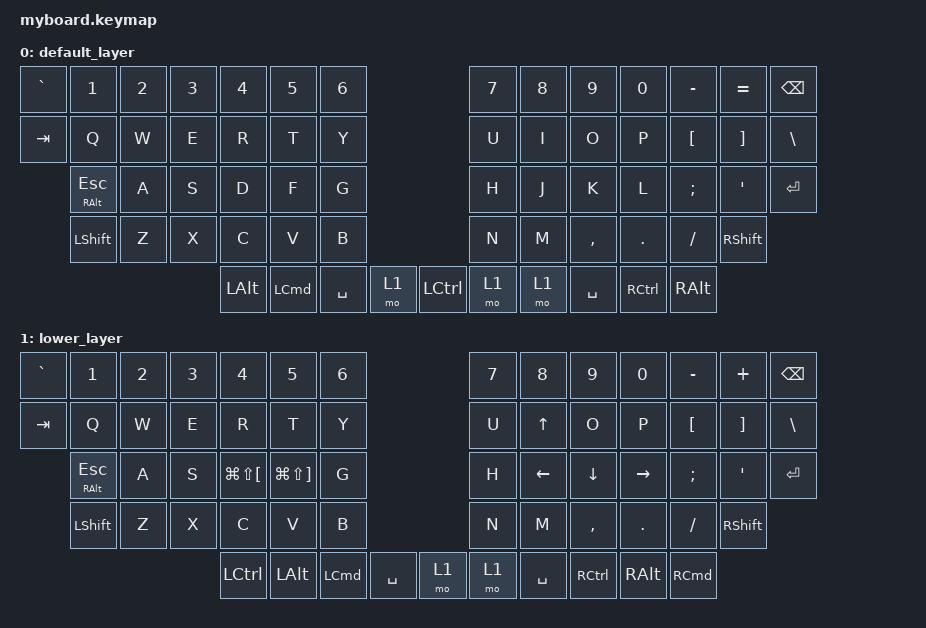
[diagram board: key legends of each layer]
/*
 * Copyright (c) 2020 The ZMK Contributors
 *
 * SPDX-License-Identifier: MIT
 */

#include <behaviors.dtsi>
#include <dt-bindings/zmk/keys.h>
#include <dt-bindings/zmk/bt.h>

/ {
        keymap {
                compatible = "zmk,keymap";

                default_layer {
// -----------------------------------------------------------------------------------------
// |  ` |  1  |  2  |  3  |  4  |  5  |  6  |                            |  7  |  8  |  9  |  0  |  -  |  +  |BKSP |
// |    | TAB |  Q  |  W  |  E  |  R  |  T  |                            |  Y  |  U  |  I  |  O  |  P  |  [  |  ]  | |\  |
// |    | ALT |  A  |  S  |  D  |  F  |  G  |                            |  H  |  J  |  K  |  L  |  ;  |  '  | RET |
// |    |SHFT |  Z  |  X  |  C  |  V  |  B  |                            |  N  |  M  |  ,  |  .  |  /  |SHIFT|
//                        |CTRL | ALT | CMD | SPC | MOD |    | MOD | SPC |CTRL | ALT | CMD |

                        bindings = <
   &kp GRAVE &kp N1       &kp N2 &kp N3 &kp N4    &kp N5   &kp N6                                          &kp N7    &kp N8    &kp N9    &kp N0  &kp MINUS &kp EQUAL &kp BSPC
             &kp TAB      &kp Q  &kp W  &kp E     &kp R    &kp T                                           &kp Y     &kp U     &kp I     &kp O   &kp P     &kp LBKT  &kp RBKT &kp BSLH
             &mt RALT ESC &kp A  &kp S  &kp D     &kp F    &kp G                                           &kp H     &kp J     &kp K     &kp L   &kp SEMI  &kp SQT   &kp RET
             &kp LSHFT    &kp Z  &kp X  &kp C     &kp V    &kp B                                           &kp N     &kp M     &kp COMMA &kp DOT &kp FSLH  &kp RSHFT
                                        &kp LALT  &kp LCMD &kp SPACE &mo 1 &kp LCTRL       &mo 1 &mo 1 &kp SPACE &kp RCTRL &kp RALT
                        >;
                };
                lower_layer {
// -----------------------------------------------------------------------------------------
// |  TAB |  1  |  2  |  3  |  4  |  5  |   |  6  |  7  |  8  |  9  |  0  | BKSP |
// | BTCLR| BT1 | BT2 | BT3 | BT4 | BT5 |   | LFT | DWN |  UP | RGT |     |      |
// | SHFT |     |     |     |     |     |   |     |     |     |     |     |      |
//                    | GUI |     | SPC |   | ENT |     | ALT |
                        bindings = <
   &kp GRAVE &kp N1       &kp N2 &kp N3 &kp N4           &kp N5           &kp N6                                      &kp N7    &kp N8   &kp N9    &kp N0  &kp MINUS &kp PLUS  &kp BSPC
             &kp TAB      &kp Q  &kp W  &kp E            &kp R            &kp T                                       &kp Y     &kp U    &kp UP    &kp O   &kp P     &kp LBKT  &kp RBKT &kp BSLH
             &mt RALT ESC &kp A  &kp S  &kp LG(LS(LBKT)) &kp LG(LS(RBKT)) &kp G                                       &kp H     &kp LEFT &kp DOWN  &kp RIGHT   &kp SEMI  &kp SQT   &kp RET
             &kp LSHFT    &kp Z  &kp X  &kp C            &kp V            &kp B                                       &kp N     &kp M    &kp COMMA &kp DOT &kp FSLH  &kp RSHFT
                                        &kp LCTRL        &kp LALT         &kp LCMD &kp SPACE &mo 1    &mo 1 &kp SPACE &kp RCTRL &kp RALT &kp RCMD
                        >;
                };

//                raise_layer {
// -----------------------------------------------------------------------------------------
// |  TAB |  !  |  @  |  #  |  $  |  %  |   |  ^  |  &  |  *  |  (  |  )  | BKSP |
// | CTRL |     |     |     |     |     |   |  -  |  =  |  [  |  ]  |  \  |  `   |
// | SHFT |     |     |     |     |     |   |  _  |  +  |  {  |  }  | "|" |  ~   |
//                    | GUI |     | SPC |   | ENT |     | ALT |
//                        bindings = <
//   &kp  TAB  &kp EXCL &kp AT &kp HASH &kp DLLR &kp PRCNT   &kp CARET &kp AMPS  &kp KP_MULTIPLY &kp LPAR &kp RPAR &kp BSPC
//   &kp LCTRL &trans   &trans &trans   &trans   &trans      &kp MINUS &kp EQUAL &kp LBKT        &kp RBKT &kp BSLH &kp GRAVE
//   &kp LSHFT &trans   &trans &trans   &trans   &trans      &kp UNDER &kp PLUS  &kp LBRC        &kp RBRC &kp PIPE &kp TILDE
//                    	     &kp LGUI &trans   &kp SPACE   &kp RET   &trans    &kp RALT
//                        >;
//                };
        };
};
